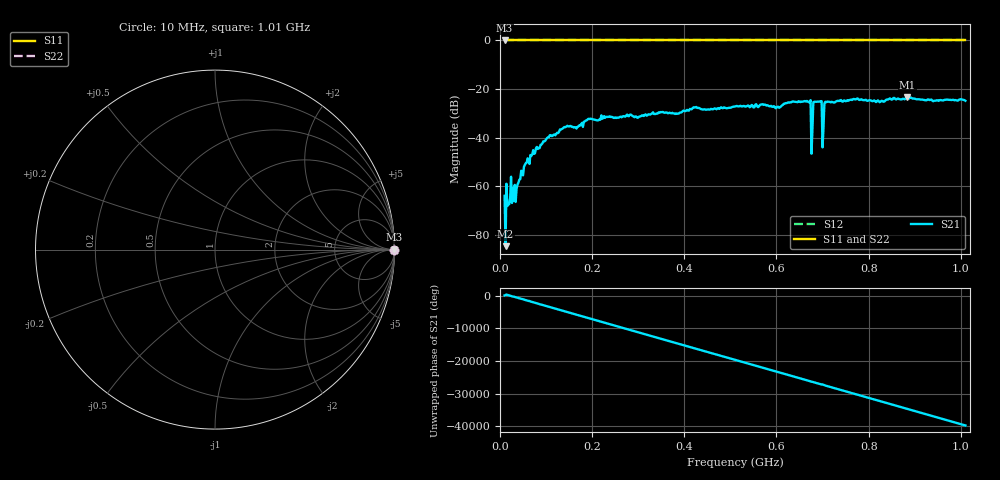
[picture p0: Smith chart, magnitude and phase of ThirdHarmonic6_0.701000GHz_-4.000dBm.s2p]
! 8/15/2025 11:24:47 PM
! C:\ANRITSUVNA\TEMP\TEMP.S2P
! CHANNEL.1
! TR.MEASUREMENT
! RAW.DATA
! RF.CORRECTION.OFF
! AVERAGING.OFF
! IF.BANDWIDTH: 5KHZ
! SWEEPTYPE:  FREQ.SWEEP(Linear)
! Reference Plane Port Info
! PORT:  PORT1  PORT2
! DISTANCE:  0  m  0  m
! TIME:  0  s  0  s
! PHASE.OFFSET:  0  deg.  0  deg.
! LOSS:  0  dB  0  dB
! REF.LOSS:  0  dB  0  dB
! REF.FREQ:  0  Hz  0  Hz
! Power Info
! POWER:  -20  dBm  -20  dBm
! EFF.POWER:  -20  dBm  -20  dBm
! SOURCE.ATTEN:  0  dB  0  dB
! TEST.ATTEN:  0  dB  0  dB
# GHZ S RI R 50.0
! FREQ.GHZ  S11RE  S11IM  S21RE  S21IM  S12RE  S12IM  S22RE  S22IM
!; PortSelection: Port_12
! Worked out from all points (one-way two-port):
!   501 points, 10 MHz to 1.01 GHz, reference 50 ohm
!   highest |S21| = -23.50 dB at 884 MHz (marker M1); lowest = -84.7 dB at 12 MHz (marker M2)
!   lowest |S11| = 0.0 dB at 10 MHz (marker M3)
!   |S11| at or under -10 dB: nowhere
!   |S22| runs from 0.0 to 0.0 dB; largest |S21 - S12| = 1.1
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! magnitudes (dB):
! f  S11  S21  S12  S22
! 10 MHz  0.0  -64.0  0.0  0.0
! 12 MHz  0.0  -84.7  0.0  0.0
! 16 MHz  0.0  -68.2  0.0  0.0
! 28 MHz  0.0  -60.8  0.0  0.0
! 30 MHz  0.0  -66.0  0.0  0.0
! 56 MHz  0.0  -50.5  0.0  0.0
! 76 MHz  0.0  -46.5  0.0  0.0
! 134 MHz  0.0  -36.5  0.0  0.0
! 178 MHz  0.0  -34.0  0.0  0.0
! 344 MHz  0.0  -29.6  0.0  0.0
! 510 MHz  0.0  -27.2  0.0  0.0
! 670 MHz  0.0  -25.4  0.0  0.0
! 674 MHz  0.0  -24.6  0.0  0.0
! 678 MHz  0.0  -36.9  0.0  0.0
! 684 MHz  0.0  -25.2  0.0  0.0
! 694 MHz  0.0  -25.2  0.0  0.0
! 698 MHz  0.0  -25.0  0.0  0.0
! 704 MHz  0.0  -25.9  0.0  0.0
! 710 MHz  0.0  -25.2  0.0  0.0
! 844 MHz  0.0  -24.1  0.0  0.0
! 884 MHz  0.0  -23.5  0.0  0.0
! 1.01 GHz  0.0  -24.8  0.0  0.0
